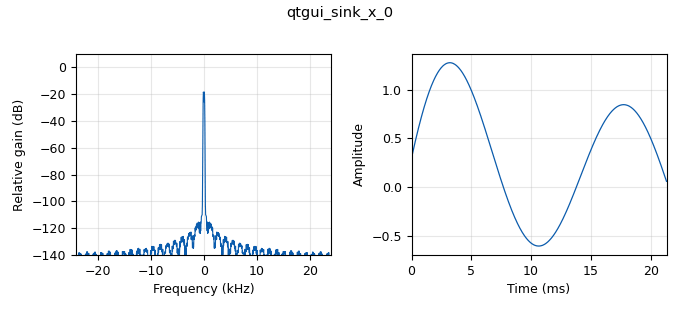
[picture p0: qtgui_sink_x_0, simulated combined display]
options:
  parameters:
    author: manuel
    generate_options: qt_gui
    id: lab_02_q1
    output_language: python
    title: Frequency Sampling
  states: {}

blocks:
- name: samp_rate
  id: variable_qtgui_range
  parameters:
    label: samp_rate
    orient: Qt.Horizontal
    start: '48000'
    step: '11960'
    stop: '2440000'
    value: '48000'
  states: {}
- name: analog_sig_source_x_0
  id: analog_sig_source_x
  parameters:
    amp: '1'
    freq: 0.8042*samp_rate
    offset: '0'
    phase: '0'
    samp_rate: samp_rate
    type: float
    waveform: analog.GR_COS_WAVE
  states: {}
- name: analog_sig_source_x_0_0
  id: analog_sig_source_x
  parameters:
    amp: '1'
    freq: 0.8042*samp_rate/3
    offset: '0'
    phase: '0'
    samp_rate: samp_rate
    type: float
    waveform: analog.GR_COS_WAVE
  states: {}
- name: analog_sig_source_x_0_0_0
  id: analog_sig_source_x
  parameters:
    amp: '1'
    freq: 0.8042*samp_rate/5
    offset: '0'
    phase: '0'
    samp_rate: samp_rate
    type: float
    waveform: analog.GR_COS_WAVE
  states: {}
- name: blocks_add_xx_0
  id: blocks_add_xx
  parameters:
    num_inputs: '3'
    type: float
  states: {}
- name: blocks_throttle_0
  id: blocks_throttle
  parameters:
    samples_per_second: samp_rate
    type: float
  states: {}
- name: qtgui_sink_x_0
  id: qtgui_sink_x
  parameters:
    bw: samp_rate
    fc: '0'
    fftsize: '1024'
    type: float
    wintype: firdes.WIN_BLACKMAN_hARRIS
  states: {}
- name: rational_resampler_xxx_0
  id: rational_resampler_xxx
  parameters:
    decim: '1'
    interp: '200'
    taps: ''
    type: fff
  states: {}

connections:
- [analog_sig_source_x_0, '0', blocks_add_xx_0, '0']
- [analog_sig_source_x_0_0, '0', blocks_add_xx_0, '1']
- [analog_sig_source_x_0_0_0, '0', blocks_add_xx_0, '2']
- [blocks_add_xx_0, '0', blocks_throttle_0, '0']
- [blocks_throttle_0, '0', rational_resampler_xxx_0, '0']
- [rational_resampler_xxx_0, '0', qtgui_sink_x_0, '0']

metadata:
  file_format: 1
